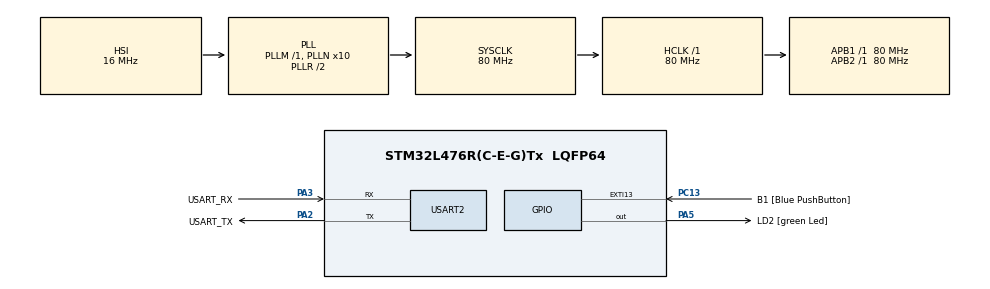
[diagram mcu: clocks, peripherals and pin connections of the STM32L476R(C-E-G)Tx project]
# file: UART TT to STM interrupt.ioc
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Mcu.Family=STM32L4
Mcu.Name=STM32L476R(C-E-G)Tx
Mcu.Package=LQFP64
NVIC.PriorityGroup=NVIC_PRIORITYGROUP_4
PA13\ (JTMS-SWDIO).GPIO_Label=TMS
PA13\ (JTMS-SWDIO).Mode=Serial_Wire
PA13\ (JTMS-SWDIO).Signal=SYS_JTMS-SWDIO
PA14\ (JTCK-SWCLK).GPIO_Label=TCK
PA14\ (JTCK-SWCLK).Mode=Serial_Wire
PA14\ (JTCK-SWCLK).Signal=SYS_JTCK-SWCLK
PA2.GPIO_Label=USART_TX
PA2.GPIO_Mode=GPIO_MODE_AF_PP
PA2.GPIO_PuPd=GPIO_NOPULL
PA2.GPIO_Speed=GPIO_SPEED_FREQ_VERY_HIGH
PA2.Mode=Asynchronous
PA2.Signal=USART2_TX
PA3.GPIO_Label=USART_RX
PA3.GPIO_Mode=GPIO_MODE_AF_PP
PA3.GPIO_PuPd=GPIO_NOPULL
PA3.GPIO_Speed=GPIO_SPEED_FREQ_VERY_HIGH
PA3.Mode=Asynchronous
PA3.Signal=USART2_RX
PA5.GPIO_Label=LD2 [green Led]
PA5.GPIO_ModeDefaultOutputPP=GPIO_MODE_OUTPUT_PP
PA5.GPIO_PuPd=GPIO_NOPULL
PA5.GPIO_Speed=GPIO_SPEED_FREQ_LOW
PA5.Signal=GPIO_Output
PB3\ (JTDO-TRACESWO).GPIO_Label=SWO
PB3\ (JTDO-TRACESWO).Signal=SYS_JTDO-SWO
PC13.GPIO_Label=B1 [Blue PushButton]
PC13.GPIO_ModeDefaultEXTI=GPIO_MODE_IT_FALLING
PC13.GPIO_PuPd=GPIO_NOPULL
PC13.Signal=GPXTI13
PC14-OSC32_IN\ (PC14).Mode=LSE-External-Oscillator
PC14-OSC32_IN\ (PC14).Signal=RCC_OSC32_IN
PC15-OSC32_OUT\ (PC15).Mode=LSE-External-Oscillator
PC15-OSC32_OUT\ (PC15).Signal=RCC_OSC32_OUT
PH0-OSC_IN\ (PH0).Signal=RCC_OSC_IN
PH1-OSC_OUT\ (PH1).Signal=RCC_OSC_OUT
ProjectManager.HeapSize=0x200
ProjectManager.StackSize=0x400
ProjectManager.TargetToolchain=STM32CubeIDE
RCC.ADCFreq_Value=64000000
RCC.AHBFreq_Value=80000000
RCC.APB1Freq_Value=80000000
RCC.APB1TimFreq_Value=80000000
RCC.APB2Freq_Value=80000000
RCC.APB2TimFreq_Value=80000000
RCC.CortexFreq_Value=80000000
RCC.HCLKFreq_Value=80000000
RCC.HSE_VALUE=8000000
RCC.HSI_VALUE=16000000
RCC.MSI_VALUE=4000000
RCC.PLLN=10
RCC.PLLSourceVirtual=RCC_PLLSOURCE_HSI
RCC.PREFETCH_ENABLE=1
RCC.SYSCLKFreq_VALUE=80000000
RCC.SYSCLKSource=RCC_SYSCLKSOURCE_PLLCLK
RCC.USBFreq_Value=64000000
RCC.VCOOutputFreq_Value=160000000
USART2.VirtualMode-Asynchronous=VM_ASYNC
board=NUCLEO-L476RG

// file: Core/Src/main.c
/* USER CODE BEGIN Header */
/**
  ******************************************************************************
  * @file           : main.c
  * @brief          : Main program body
  ******************************************************************************
  * @attention
  *
  * Copyright (c) 2024 STMicroelectronics.
  * All rights reserved.
  *
  * This software is licensed under terms that can be found in the LICENSE file
  * in the root directory of this software component.
  * If no LICENSE file comes with this software, it is provided AS-IS.
  *
  ******************************************************************************
  */
/* USER CODE END Header */
#include "main.h"

/* USER CODE BEGIN Includes */
#include "stm32l4xx_hal.h"
#include "message.h"
#include <stdio.h>
#ifdef __GNUC__
#define PUTCHAR_PROTOTYPE int __io_putchar(int ch)
#else
#define PUTCHAR_PROTOTYPE int fputc(int ch, FILE *f)
#endif /* __GNUC__ */

#define RXBUFFERSIZE 100
/* You need this if you want use printf */
/* Struct FILE is implemented in stdio.h */
FILE __stdout;

/* USER CODE END Includes */

UART_HandleTypeDef huart2;

/* USER CODE BEGIN PV */
int i = 0;
char buffer[100];
int len;

char Rx_indx, Rx_data[2], Rx_Buffer[100], Transfer_cplt;
/* USER CODE END PV */

void SystemClock_Config(void);
static void MX_GPIO_Init(void);
static void MX_USART2_UART_Init(void);

/* USER CODE BEGIN 0 */
//Interrupt callback routine
void HAL_UART_RxCpltCallback(UART_HandleTypeDef *huart)
{
	uint8_t i;
	if (huart->Instance == USART2)	//current UART
		{
		if (Rx_indx==0) {for (i=0;i<100;i++) Rx_Buffer[i]=0;}	//clear Rx_Buffer before receiving new data

		if (Rx_data[0]!=13)	//if received data different from ascii 13 (enter)
			{
			Rx_Buffer[Rx_indx++]=Rx_data[0];	//add data to Rx_Buffer
			}
		else			//if received data = 13
			{
			Rx_indx=0;
			Transfer_cplt=1;//transfer complete, data is ready to read
			}

		HAL_UART_Receive_IT(&huart2, Rx_data, 1);	//activate UART receive interrupt every time
		}

}
/* USER CODE END 0 */

int main(void)
{

  /* MCU Configuration--------------------------------------------------------*/

  /* Reset of all peripherals, Initializes the Flash interface and the Systick. */
  HAL_Init();

  /* Configure the system clock */
  SystemClock_Config();

  /* Initialize all configured peripherals */
  MX_GPIO_Init();
  MX_USART2_UART_Init();
  /* USER CODE BEGIN 2 */
  printf("Hello\r\nUART Example \r\n");
    printf("\n\n");

    HAL_UART_Receive_IT(&huart2, Rx_data, 1);	//activate uart rx interrupt avery time receiving 1 byte
  /* USER CODE END 2 */

  /* Infinite loop */
  /* USER CODE BEGIN WHILE */
  while (1)
  {
	  i = 0;
	 		 if (Transfer_cplt != 0)
	 			{

	 			    //HAL_UART_Transmit(&huart1, "t", 1, 1000);
	 				sprintf(buffer,"%s\r\n",Rx_Buffer);
	 				len=strlen(buffer);
	 				HAL_UART_Transmit(&huart2, buffer, len, 1000);
	 				printf("\r\n %s", buffer);
	 				Transfer_cplt=0;		//reset transfer_complete variable
	 				HAL_Delay(500);

	 				i++;
	 			}

	 		  i = 1;

    /* USER CODE END WHILE */

    /* USER CODE BEGIN 3 */
  }
  PUTCHAR_PROTOTYPE
  {
    HAL_UART_Transmit(&huart2, (uint8_t *)&ch, 1, 0xFFFF);

    return ch;
  /* USER CODE END 3 */
}

void SystemClock_Config(void)
{
  RCC_OscInitTypeDef RCC_OscInitStruct = {0};
  RCC_ClkInitTypeDef RCC_ClkInitStruct = {0};

  /** Configure the main internal regulator output voltage
  */
  if (HAL_PWREx_ControlVoltageScaling(PWR_REGULATOR_VOLTAGE_SCALE1) != HAL_OK)
  {
    Error_Handler();
  }

  /** Initializes the RCC Oscillators according to the specified parameters
  * in the RCC_OscInitTypeDef structure.
  */
  RCC_OscInitStruct.OscillatorType = RCC_OSCILLATORTYPE_HSI;
  RCC_OscInitStruct.HSIState = RCC_HSI_ON;
  RCC_OscInitStruct.HSICalibrationValue = RCC_HSICALIBRATION_DEFAULT;
  RCC_OscInitStruct.PLL.PLLState = RCC_PLL_ON;
  RCC_OscInitStruct.PLL.PLLSource = RCC_PLLSOURCE_HSI;
  RCC_OscInitStruct.PLL.PLLM = 1;
  RCC_OscInitStruct.PLL.PLLN = 10;
  RCC_OscInitStruct.PLL.PLLP = RCC_PLLP_DIV7;
  RCC_OscInitStruct.PLL.PLLQ = RCC_PLLQ_DIV2;
  RCC_OscInitStruct.PLL.PLLR = RCC_PLLR_DIV2;
  if (HAL_RCC_OscConfig(&RCC_OscInitStruct) != HAL_OK)
  {
    Error_Handler();
  }

  /** Initializes the CPU, AHB and APB buses clocks
  */
  RCC_ClkInitStruct.ClockType = RCC_CLOCKTYPE_HCLK|RCC_CLOCKTYPE_SYSCLK
                              |RCC_CLOCKTYPE_PCLK1|RCC_CLOCKTYPE_PCLK2;
  RCC_ClkInitStruct.SYSCLKSource = RCC_SYSCLKSOURCE_PLLCLK;
  RCC_ClkInitStruct.AHBCLKDivider = RCC_SYSCLK_DIV1;
  RCC_ClkInitStruct.APB1CLKDivider = RCC_HCLK_DIV1;
  RCC_ClkInitStruct.APB2CLKDivider = RCC_HCLK_DIV1;

  if (HAL_RCC_ClockConfig(&RCC_ClkInitStruct, FLASH_LATENCY_4) != HAL_OK)
  {
    Error_Handler();
  }
}

static void MX_USART2_UART_Init(void)
{

  huart2.Instance = USART2;
  huart2.Init.BaudRate = 115200;
  huart2.Init.WordLength = UART_WORDLENGTH_8B;
  huart2.Init.StopBits = UART_STOPBITS_1;
  huart2.Init.Parity = UART_PARITY_NONE;
  huart2.Init.Mode = UART_MODE_TX_RX;
  huart2.Init.HwFlowCtl = UART_HWCONTROL_NONE;
  huart2.Init.OverSampling = UART_OVERSAMPLING_16;
  huart2.Init.OneBitSampling = UART_ONE_BIT_SAMPLE_DISABLE;
  huart2.AdvancedInit.AdvFeatureInit = UART_ADVFEATURE_NO_INIT;
  if (HAL_UART_Init(&huart2) != HAL_OK)
  {
    Error_Handler();
  }

}

static void MX_GPIO_Init(void)
{
  GPIO_InitTypeDef GPIO_InitStruct = {0};

  /* GPIO Ports Clock Enable */
  __HAL_RCC_GPIOC_CLK_ENABLE();
  __HAL_RCC_GPIOH_CLK_ENABLE();
  __HAL_RCC_GPIOA_CLK_ENABLE();
  __HAL_RCC_GPIOB_CLK_ENABLE();

  /*Configure GPIO pin Output Level */
  HAL_GPIO_WritePin(LD2_GPIO_Port, LD2_Pin, GPIO_PIN_RESET);

  /*Configure GPIO pin : B1_Pin */
  GPIO_InitStruct.Pin = B1_Pin;
  GPIO_InitStruct.Mode = GPIO_MODE_IT_FALLING;
  GPIO_InitStruct.Pull = GPIO_NOPULL;
  HAL_GPIO_Init(B1_GPIO_Port, &GPIO_InitStruct);

  /*Configure GPIO pin : LD2_Pin */
  GPIO_InitStruct.Pin = LD2_Pin;
  GPIO_InitStruct.Mode = GPIO_MODE_OUTPUT_PP;
  GPIO_InitStruct.Pull = GPIO_NOPULL;
  GPIO_InitStruct.Speed = GPIO_SPEED_FREQ_LOW;
  HAL_GPIO_Init(LD2_GPIO_Port, &GPIO_InitStruct);

}

void Error_Handler(void)
{
  __disable_irq();
  while (1)
  {
  }
}
